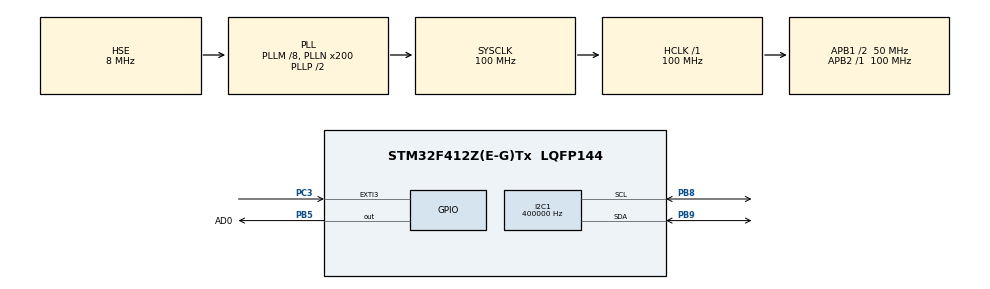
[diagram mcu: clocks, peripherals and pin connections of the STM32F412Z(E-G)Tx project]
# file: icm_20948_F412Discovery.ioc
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I2C1.ClockSpeed=400000
I2C1.I2C_Mode=I2C_Fast
Mcu.Family=STM32F4
Mcu.Name=STM32F412Z(E-G)Tx
Mcu.Package=LQFP144
NVIC.EXTI3_IRQn=true\:1\:0\:true\:false\:true\:true\:true
NVIC.PriorityGroup=NVIC_PRIORITYGROUP_4
NVIC.TIM6_IRQn=true\:1\:0\:true\:false\:true\:true\:true
PA13.Mode=Serial_Wire
PA13.Signal=SYS_JTMS-SWDIO
PA14.Mode=Serial_Wire
PA14.Signal=SYS_JTCK-SWCLK
PB5.GPIO_Label=AD0
PB5.GPIO_ModeDefaultOutputPP=GPIO_MODE_OUTPUT_PP
PB5.GPIO_PuPd=GPIO_PULLDOWN
PB5.Signal=GPIO_Output
PB8.Mode=I2C
PB8.Signal=I2C1_SCL
PB9.Mode=I2C
PB9.Signal=I2C1_SDA
PC3.GPIO_ModeDefaultEXTI=GPIO_MODE_IT_RISING
PC3.GPIO_PuPd=GPIO_PULLDOWN
PC3.Signal=GPXTI3
PH0\ -\ OSC_IN.Mode=HSE-External-Oscillator
PH0\ -\ OSC_IN.Signal=RCC_OSC_IN
PH1\ -\ OSC_OUT.Mode=HSE-External-Oscillator
PH1\ -\ OSC_OUT.Signal=RCC_OSC_OUT
ProjectManager.HeapSize=0x200
ProjectManager.StackSize=0x400
ProjectManager.TargetToolchain=MDK-ARM V5.32
RCC.AHBFreq_Value=100000000
RCC.APB1CLKDivider=RCC_HCLK_DIV2
RCC.APB1Freq_Value=50000000
RCC.APB1TimFreq_Value=100000000
RCC.APB2Freq_Value=100000000
RCC.APB2TimFreq_Value=100000000
RCC.CortexFreq_Value=100000000
RCC.HCLKFreq_Value=100000000
RCC.HSE_VALUE=8000000
RCC.PLLM=8
RCC.PLLN=200
RCC.PLLSourceVirtual=RCC_PLLSOURCE_HSE
RCC.SYSCLKFreq_VALUE=100000000
RCC.SYSCLKSource=RCC_SYSCLKSOURCE_PLLCLK
RCC.USBFreq_Value=100000000
RCC.VCOOutputFreq_Value=200000000
TIM6.Period=10000
TIM6.Prescaler=999
TIM7.Period=10000
TIM7.Prescaler=99
VP_TIM6_VS_ClockSourceINT.Mode=Enable_Timer
VP_TIM7_VS_ClockSourceINT.Mode=Enable_Timer
board=custom

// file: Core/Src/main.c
/* USER CODE BEGIN Header */
/**
  ******************************************************************************
  * @file           : main.c
  * @brief          : Main program body
  ******************************************************************************
  * @attention
  *
  * <h2><center>&copy; Copyright (c) 2022 STMicroelectronics.
  * All rights reserved.</center></h2>
  *
  * This software component is licensed by ST under BSD 3-Clause license,
  * the "License"; You may not use this file except in compliance with the
  * License. You may obtain a copy of the License at:
  *                        opensource.org/licenses/BSD-3-Clause
  *
  ******************************************************************************
  */
/* USER CODE END Header */
#include "main.h"
#include "i2c.h"
#include "tim.h"
#include "gpio.h"

/* USER CODE BEGIN Includes */
#include "icm_twi_driver.h"
#include "delay.h"
/* USER CODE END Includes */

void SystemClock_Config(void);

/* USER CODE BEGIN 0 */
Sensor_DataTypedef IMU_Data={0};
/* USER CODE END 0 */

int main(void)
{

  /* MCU Configuration--------------------------------------------------------*/

  /* Reset of all peripherals, Initializes the Flash interface and the Systick. */
  HAL_Init();

  /* Configure the system clock */
  SystemClock_Config();

  /* Initialize all configured peripherals */
  MX_GPIO_Init();
  MX_I2C1_Init();
  MX_TIM6_Init();
  MX_TIM7_Init();

  /* Infinite loop */
  /* USER CODE BEGIN WHILE */

	icm_20948_init();
	HAL_TIM_Base_Start_IT(&htim6);							//开启htim6 周期读取罗盘仪数据 T=1/per罗盘仪
  while (1)
  {

    /* USER CODE END WHILE */

  }
}

void SystemClock_Config(void)
{
  RCC_OscInitTypeDef RCC_OscInitStruct = {0};
  RCC_ClkInitTypeDef RCC_ClkInitStruct = {0};

  /** Configure the main internal regulator output voltage
  */
  __HAL_RCC_PWR_CLK_ENABLE();
  __HAL_PWR_VOLTAGESCALING_CONFIG(PWR_REGULATOR_VOLTAGE_SCALE1);
  /** Initializes the RCC Oscillators according to the specified parameters
  * in the RCC_OscInitTypeDef structure.
  */
  RCC_OscInitStruct.OscillatorType = RCC_OSCILLATORTYPE_HSE;
  RCC_OscInitStruct.HSEState = RCC_HSE_ON;
  RCC_OscInitStruct.PLL.PLLState = RCC_PLL_ON;
  RCC_OscInitStruct.PLL.PLLSource = RCC_PLLSOURCE_HSE;
  RCC_OscInitStruct.PLL.PLLM = 8;
  RCC_OscInitStruct.PLL.PLLN = 200;
  RCC_OscInitStruct.PLL.PLLP = RCC_PLLP_DIV2;
  RCC_OscInitStruct.PLL.PLLQ = 2;
  RCC_OscInitStruct.PLL.PLLR = 2;
  if (HAL_RCC_OscConfig(&RCC_OscInitStruct) != HAL_OK)
  {
    Error_Handler();
  }
  /** Initializes the CPU, AHB and APB buses clocks
  */
  RCC_ClkInitStruct.ClockType = RCC_CLOCKTYPE_HCLK|RCC_CLOCKTYPE_SYSCLK
                              |RCC_CLOCKTYPE_PCLK1|RCC_CLOCKTYPE_PCLK2;
  RCC_ClkInitStruct.SYSCLKSource = RCC_SYSCLKSOURCE_PLLCLK;
  RCC_ClkInitStruct.AHBCLKDivider = RCC_SYSCLK_DIV1;
  RCC_ClkInitStruct.APB1CLKDivider = RCC_HCLK_DIV2;
  RCC_ClkInitStruct.APB2CLKDivider = RCC_HCLK_DIV1;

  if (HAL_RCC_ClockConfig(&RCC_ClkInitStruct, FLASH_LATENCY_3) != HAL_OK)
  {
    Error_Handler();
  }
}

/* USER CODE BEGIN 4 */
void HAL_GPIO_EXTI_Callback(uint16_t GPIO_Pin)
{
	if(GPIO_Pin==GPIO_PIN_3)//PC3->icm20948下降沿触发读取数据
	{
		uint8_t Mag_count;
		uint8_t state_buf = 0;
		Mag_count++;
		if(Mag_count == 15)
		{
			//罗盘仪周期10HZ 周期100ms
			Mag_count = 0;
			//ak_09916MagRead();
		}
		else
		{
			state_buf = icm_20948_ReadOne_Byte(INT_STATUS_1);		//确定生成陀螺仪与加速度数据
			if(state_buf == 1)
			{
				state_buf = 0;
				icm_20948GyroRead();
				icm_20948AccelRead();
			}
		}
	}
}
void HAL_TIM_PeriodElapsedCallback(TIM_HandleTypeDef *htim)
{
	if(htim == &htim6)
	{
		ak_09916MagRead();
	}

}
/* USER CODE END 4 */

void Error_Handler(void)
{
  __disable_irq();
  while (1)
  {
  }
}

/************************ (C) COPYRIGHT STMicroelectronics *****END OF FILE****/
